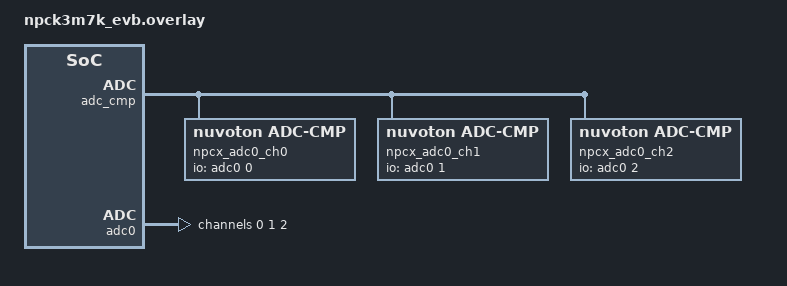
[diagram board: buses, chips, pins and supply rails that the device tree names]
/*
 * Copyright (c) 2023 Nuvoton Technology Corporation.
 *
 * SPDX-License-Identifier: Apache-2.0
 */


/ {
	adc_cmp {
		npcx_adc0_ch0: adc0_ch0_cmp {
			compatible = "nuvoton,adc-cmp";
			io-channels = <&adc0 0>;
			comparison = "ADC_CMP_NPCX_GREATER";
			threshold-mv = <1800>;
		};
		npcx_adc0_ch1: adc0_ch1_cmp {
			compatible = "nuvoton,adc-cmp";
			io-channels = <&adc0 1>;
			comparison = "ADC_CMP_NPCX_GREATER";
			threshold-mv = <1800>;
		};
		npcx_adc0_ch2: adc0_ch2_cmp {
			compatible = "nuvoton,adc-cmp";
			io-channels = <&adc0 2>;
			comparison = "ADC_CMP_NPCX_GREATER";
			threshold-mv = <1800>;
		};
	};
};



&adc0 {
	#address-cells = <1>;
	#size-cells = <0>;

	status = "okay";
	/* Use adc0 channel 0~11 for 'adc_api' driver tests */
	pinctrl-0 = <&adc0_chan0_gp90
                     &adc0_chan1_gp91
                     &adc0_chan2_gp92
                     &adc0_chan3_gp93
                     &adc0_chan4_gp05
                     &adc0_chan5_gp04
                     &adc0_chan6_gp03
                     &adc0_chan7_gp07
                     &adc0_chan8_gph2
                     &adc0_chan9_gph1
                     &adc0_chan10_gph0
                     &adc0_chan11_gpg7>;
	pinctrl-names = "default";

	channel@0 {
		reg = <0>;
		zephyr,gain = "ADC_GAIN_1";
		zephyr,reference = "ADC_REF_INTERNAL";
		zephyr,vref-mv = <3300>;
		zephyr,acquisition-time = <ADC_ACQ_TIME_DEFAULT>;
		zephyr,resolution = <10>;
	};
	channel@1 {
		reg = <1>;
		zephyr,gain = "ADC_GAIN_1";
		zephyr,reference = "ADC_REF_INTERNAL";
		zephyr,vref-mv = <3300>;
		zephyr,acquisition-time = <ADC_ACQ_TIME_DEFAULT>;
		zephyr,resolution = <10>;
	};
	channel@2 {
		reg = <2>;
		zephyr,gain = "ADC_GAIN_1";
		zephyr,reference = "ADC_REF_INTERNAL";
		zephyr,vref-mv = <3300>;
		zephyr,acquisition-time = <ADC_ACQ_TIME_DEFAULT>;
		zephyr,resolution = <10>;
	};
};

